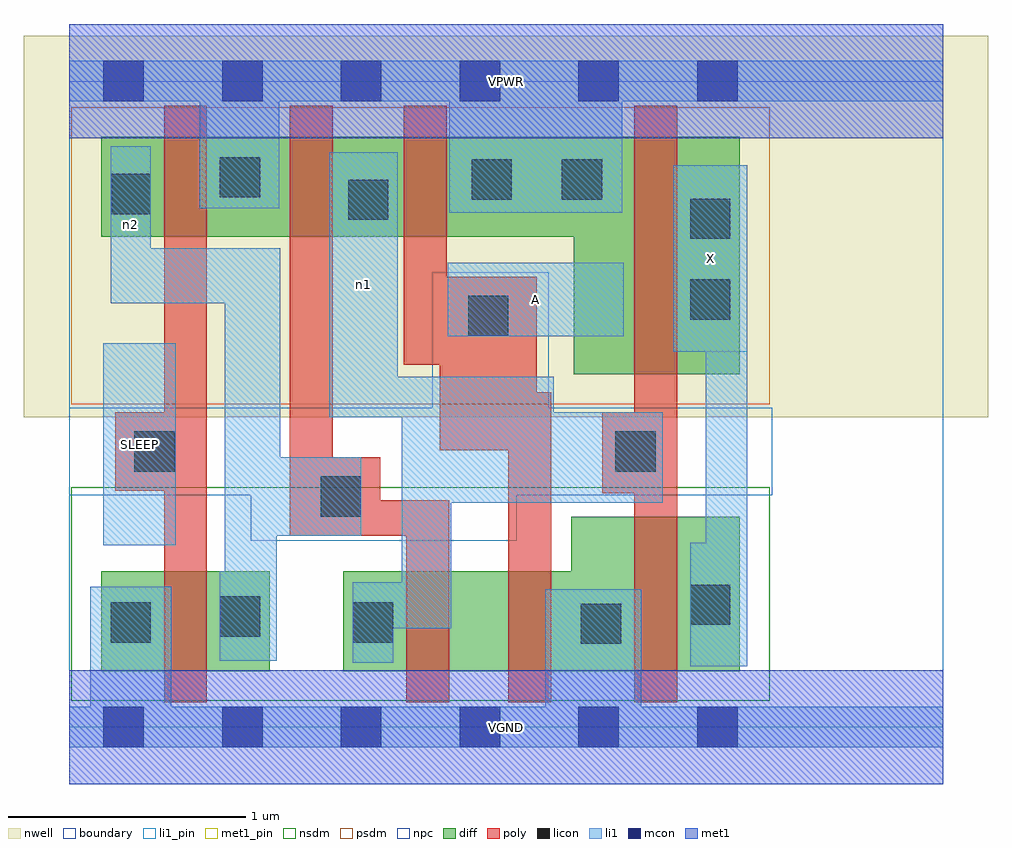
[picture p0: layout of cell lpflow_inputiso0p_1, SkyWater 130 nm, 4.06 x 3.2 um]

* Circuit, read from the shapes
.subckt lpflow_inputiso0p_1 A SLEEP VGND VPWR X n1 n2
XM1 n2 SLEEP VGND VSUBS sky130_fd_pr__nfet_01v8 w=0.42 l=0.18
XM2 n3 n2 n1 VSUBS sky130_fd_pr__nfet_01v8 w=0.42 l=0.18
XM3 VGND A n3 VSUBS sky130_fd_pr__nfet_01v8 w=0.42 l=0.18
XM4 X n1 VGND VSUBS sky130_fd_pr__nfet_01v8 w=0.65 l=0.18
XM5 VPWR SLEEP n2 n4 sky130_fd_pr__pfet_01v8 w=0.42 l=0.18
XM6 n1 n2 VPWR n4 sky130_fd_pr__pfet_01v8 w=0.42 l=0.18
XM7 VPWR A n1 n4 sky130_fd_pr__pfet_01v8 w=0.42 l=0.18
XM8 X n1 VPWR n4 sky130_fd_pr__pfet_01v8 w=1 l=0.18
.ends

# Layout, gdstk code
import gdstk
lib = gdstk.Library(unit=1e-6, precision=1e-09)
def R(c, l, rs):  # rectangles x0, y0, x1, y1
    for r in rs: c.add(gdstk.rectangle(r[:2], r[2:], *l))
def A(c, l, x, y, w, h, nx, ny, dx, dy):  # array of equal rectangles
    R(c, l, [(x+i*dx, y+j*dy, x+i*dx+w, y+j*dy+h) for i in range(nx) for j in range(ny)])
nwell = (64, 20)
diff = (65, 20)
poly = (66, 20)
licon = (66, 44)
li1_pin = (67, 16)
li1 = (67, 20)
mcon = (67, 44)
met1_pin = (68, 16)
met1 = (68, 20)
nsdm = (93, 44)
psdm = (94, 20)
npc = (95, 20)
boundary = (235, 4)

lpflow_inputiso0p_1 = lib.new_cell('lpflow_inputiso0p_1')
R(lpflow_inputiso0p_1, nwell, [(-0.19,1.305,3.87,2.91), (0,1.305,3.68,2.91)])
R(lpflow_inputiso0p_1, diff, [(0.135,0.235,0.845,0.655), (1.155,0.235,2.825,0.655), (2.115,0.235,2.825,0.885), (2.125,1.485,2.825,2.485), (0.135,2.065,2.825,2.485)])
R(lpflow_inputiso0p_1, poly, [(0.4,0.105,0.58,2.615), (1.42,0.105,1.6,0.955), (1.85,0.105,2.03,1.41), (2.38,0.105,2.56,2.615), (0.93,0.805,1.11,2.615), (0.93,0.805,1.31,1.135), (0.93,0.805,1.6,0.955), (2.245,0.985,2.56,1.325), (0.195,0.995,0.58,1.325), (1.56,1.165,1.97,1.895), (1.41,1.525,1.59,2.615)])
R(lpflow_inputiso0p_1, licon, [(2.155,0.35,2.325,0.52), (0.175,0.355,0.345,0.525), (1.195,0.355,1.365,0.525), (0.635,0.38,0.805,0.55), (2.615,0.43,2.785,0.6), (1.06,0.885,1.23,1.055), (0.275,1.075,0.445,1.245), (2.3,1.075,2.47,1.245), (1.68,1.645,1.85,1.815), (2.615,1.715,2.785,1.885), (2.615,2.055,2.785,2.225), (1.175,2.135,1.345,2.305), (0.175,2.16,0.345,2.33), (1.695,2.22,1.865,2.39), (2.075,2.22,2.245,2.39), (0.635,2.23,0.805,2.4)])
R(lpflow_inputiso0p_1, li1_pin, [(0.145,0.765,0.45,1.615), (2.545,1.58,2.855,2.365), (1.595,1.645,2.335,1.955)])
R(lpflow_inputiso0p_1, li1, [(0,-0.085,3.68,0.085), (0.09,-0.085,0.43,0.59), (2.005,-0.085,2.41,0.58), (2.615,0.255,2.855,0.775), (2.68,0.255,2.855,2.365), (1.195,0.27,1.365,0.61), (0.635,0.28,0.875,0.655), (0.655,0.28,0.875,2.015), (1.195,0.415,1.61,0.61), (1.4,0.415,1.61,1.475), (0.145,0.765,0.45,1.615), (0.655,0.805,1.23,1.135), (0.655,0.805,0.89,2.015), (1.4,0.945,2.5,1.325), (1.095,1.305,1.385,2.42), (1.095,1.305,2.04,1.475), (2.545,1.58,2.855,2.365), (1.595,1.645,2.335,1.955), (0.175,1.785,0.345,2.445), (0.175,1.785,0.89,2.015), (1.6,2.165,2.33,2.805), (0.55,2.185,0.885,2.805), (0,2.635,3.68,2.805)])
A(lpflow_inputiso0p_1, mcon, 0.145, -0.085, 0.17, 0.17, 6, 2, 0.5, 2.72)
R(lpflow_inputiso0p_1, met1_pin, [(0,-0.24,3.68,0.24), (0,2.48,3.68,2.96)])
R(lpflow_inputiso0p_1, met1, [(0,-0.24,3.68,0.24), (0,2.48,3.68,2.96)])
R(lpflow_inputiso0p_1, nsdm, [(0.01,0.11,2.95,1.01)])
R(lpflow_inputiso0p_1, psdm, [(0.01,1.36,2.95,2.61)])
R(lpflow_inputiso0p_1, npc, [(0.765,0.785,1.885,1.345), (0,0.975,2.96,1.345), (1.53,0.975,2.02,1.915)])
R(lpflow_inputiso0p_1, boundary, [(0,0,3.68,2.72)])
lpflow_inputiso0p_1.add(gdstk.Label('A', (1.965,1.8), layer=67, texttype=5))
lpflow_inputiso0p_1.add(gdstk.Label('SLEEP', (0.297,1.19), layer=67, texttype=5))
lpflow_inputiso0p_1.add(gdstk.Label('X', (2.7,1.972), layer=67, texttype=5))
lpflow_inputiso0p_1.add(gdstk.Label('n1', (1.24,1.862), layer=67, texttype=5))
lpflow_inputiso0p_1.add(gdstk.Label('n2', (0.26,2.115), layer=67, texttype=5))
lpflow_inputiso0p_1.add(gdstk.Label('VPWR', (1.84,2.72), layer=68, texttype=5))
lpflow_inputiso0p_1.add(gdstk.Label('VGND', (1.84,0), layer=68, texttype=5))
lpflow_inputiso0p_1.add(gdstk.Label('A', (1.965,1.8), layer=67, texttype=16))
lpflow_inputiso0p_1.add(gdstk.Label('SLEEP', (0.297,1.19), layer=67, texttype=16))
lpflow_inputiso0p_1.add(gdstk.Label('X', (2.7,1.972), layer=67, texttype=16))
lpflow_inputiso0p_1.add(gdstk.Label('VPWR', (1.84,2.72), layer=68, texttype=16))
lpflow_inputiso0p_1.add(gdstk.Label('VGND', (1.84,0), layer=68, texttype=16))

lib.write_gds('lpflow_inputiso0p_1.gds')
